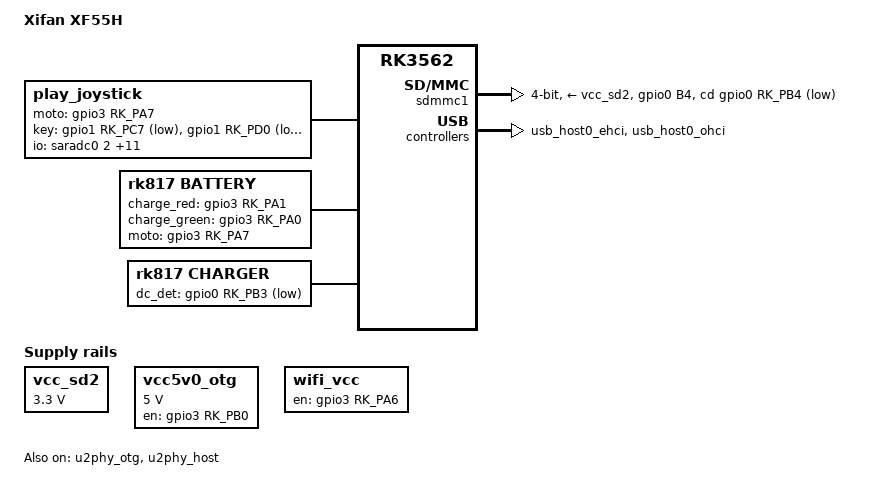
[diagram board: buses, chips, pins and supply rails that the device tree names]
// SPDX-License-Identifier: (GPL-2.0+ OR MIT)
/*
 * Xifan XF55H — RK3562 gaming handheld
 *
 * Hardware data was transcribed from the vendor
 * rk3562-ro520c-lp3x-v10-linux.dtb.
 */

/dts-v1/;

#include "rk3562.dtsi"
#include "rk3562-linux.dtsi"
#include "rk3562-rk817.dtsi"
#include "rk3562-darkos.dtsi"

/ {
	model = "Xifan XF55H";
	compatible = "xifan,xf55h", "rockchip,rk3562-ro520c-lp3x-v10",
		     "rockchip,rk3562";

	/* GPIO0_A6 and GPIO0_B4 belong to the second TF-card slot. */
	wireless-wlan {
		status = "disabled";
	};

	wireless-bluetooth {
		status = "disabled";
	};

	play_joystick {
		compatible = "play_joystick";
		io-channels = <&saradc0 2>, <&saradc0 3>,
			      <&saradc0 5>, <&saradc0 6>,
			      <&saradc1 1>, <&saradc1 4>,
			      <&saradc1 0>, <&saradc1 2>,
			      <&saradc1 3>, <&saradc1 5>,
			      <&saradc1 6>, <&saradc1 7>;
		io-channel-names = "button0", "button1",
				   "button2", "button3",
				   "l2-abs", "r2-abs",
				   "left-key", "right-key",
				   "down-key", "b-key",
				   "x-key", "y-key";
		joysticks_numbers = <2>;
		left-x-invert;
		right-y-invert;
		axis-min-value-mv = <250>;
		axis-max-value-mv = <1550>;
		axis-dead-zone-l = <790>;
		axis-dead-zone-h = <1010>;
		axis-division-value = <60>;
		keyup-threshold-microvolt = <1800000>;
		poll-interval = <16>;
		debounce-interval = <100>;
		pinctrl-names = "default";
		pinctrl-0 = <&xf55h_gpio_key_pin &xf55h_moto_gpio>;
		moto-gpio = <&gpio3 RK_PA7 GPIO_ACTIVE_HIGH>;
		gpio-key-num = <10>;
		key-gpios = <&gpio1 RK_PC7 GPIO_ACTIVE_LOW>,
			    <&gpio1 RK_PD0 GPIO_ACTIVE_LOW>,
			    <&gpio1 RK_PD5 GPIO_ACTIVE_LOW>,
			    <&gpio1 RK_PD6 GPIO_ACTIVE_LOW>,
			    <&gpio1 RK_PD3 GPIO_ACTIVE_LOW>,
			    <&gpio1 RK_PD7 GPIO_ACTIVE_LOW>,
			    <&gpio1 RK_PD4 GPIO_ACTIVE_LOW>,
			    <&gpio2 RK_PA0 GPIO_ACTIVE_LOW>,
			    <&gpio0 RK_PC5 GPIO_ACTIVE_LOW>,
			    <&gpio0 RK_PC6 GPIO_ACTIVE_LOW>;
		key-gpios-map = <0x136 0x220 0x137 0x131
				 0x13a 0x13b 0x66 0x1d0
				 0x13d 0x13e>;
		l2-r2-min-value-mv = <50>;
		l2-r2-max-value-mv = <800>;
		l2-r2-division-value-mv = <75>;
		l2_r2_abs;

		left-key {
			label = "left-key";
			adc-chan = <0>;
			linux,code = <0x222>;
			press-threshold-microvolt = <80000>;
		};

		right-key {
			label = "right-key";
			adc-chan = <2>;
			linux,code = <0x223>;
			press-threshold-microvolt = <80000>;
		};

		down-key {
			label = "down-key";
			adc-chan = <3>;
			linux,code = <0x221>;
			press-threshold-microvolt = <80000>;
		};

		b-key {
			label = "b-key";
			adc-chan = <5>;
			linux,code = <0x130>;
			press-threshold-microvolt = <80000>;
		};

		x-key {
			label = "x-key";
			adc-chan = <6>;
			linux,code = <0x133>;
			press-threshold-microvolt = <80000>;
		};

		y-key {
			label = "y-key";
			adc-chan = <7>;
			linux,code = <0x134>;
			press-threshold-microvolt = <80000>;
		};
	};

	vcc_sd2: vcc-sd2 {
		compatible = "regulator-gpio";
		regulator-name = "vcc_sd2";
		regulator-min-microvolt = <3300000>;
		regulator-max-microvolt = <3300000>;
		regulator-boot-on;
		enable-active-low;
		gpios = <&gpio0 RK_PA6 GPIO_ACTIVE_LOW>;
		states = <0 0x0
			  3300000 0x1>;
		pinctrl-names = "default";
		pinctrl-0 = <&vcc_sd_h2>;
	};

	vcc5v0_otg: vcc5v0-otg-regulator {
		compatible = "regulator-fixed";
		regulator-name = "vcc5v0_otg";
		regulator-min-microvolt = <5000000>;
		regulator-max-microvolt = <5000000>;
		enable-active-high;
		gpio = <&gpio3 RK_PB0 GPIO_ACTIVE_HIGH>;
		pinctrl-names = "default";
		pinctrl-0 = <&vcc5v0_otg_en>;
	};

	wifi_vcc: wifi-vcc {
		compatible = "regulator-fixed";
		regulator-name = "vcc-wifi";
		gpio = <&gpio3 RK_PA6 GPIO_ACTIVE_HIGH>;
		enable-active-high;
		regulator-boot-on;
		regulator-always-on;
		pinctrl-names = "default";
		pinctrl-0 = <&wifivcc_en_gpio>;
	};
};

/* The vendor panel controls its 3.3 V enable directly on GPIO0_B0. */
&dsi_panel {
	reset-delay-ms = <10>;
	init-delay-ms = <20>;
	enable-delay-ms = <100>;
	prepare-delay-ms = <20>;
	unprepare-delay-ms = <20>;
	disable-delay-ms = <20>;
	width-mm = <68>;
	height-mm = <121>;
	/* The portrait-native panel is mounted sideways in the handheld. */
	rotation = <90>;
	enable-gpios = <&gpio0 RK_PB0 GPIO_ACTIVE_HIGH>;
	pinctrl-names = "default";
	pinctrl-0 = <&lcd_rst_gpio>;

	panel-init-sequence = [
		39 00 04 b9 f1 12 87
		39 00 04 b2 40 03 78
		39 00 0b b3 10 10 28 28 03 ff 00 00 00 00
		15 00 02 b4 80
		15 00 03 b5 09 09
		15 00 03 b6 70 70
		39 00 05 b8 26 22 f0 13
		39 00 1c ba 33 81 05 f9 0e 0e 20 00 00 00 00 00 00 00
		            44 25 00 91 0a 00 00 01 4f 01 00 00 37
		15 00 02 bc 47
		39 00 06 bf 02 10 00 80 04
		39 00 0a c0 73 73 50 50 00 00 12 73 00
		39 00 12 c1 65 00 32 32 77 f1 77 77 cc cc ff ff 11 11 00 00 32
		39 00 0d c7 10 00 0a 00 00 00 00 00 ed c5 00 a5
		39 00 05 c8 10 40 1e 03
		15 00 02 cc 0b
		39 00 23 e0 00 05 07 1a 39 3f 33 2c 06 0b 0d 11 13 12 14 10 1a
		            00 05 07 1a 39 3f 33 2c 06 0b 0d 11 13 12 14 10 1a
		39 00 08 e1 11 11 91 00 00 00 00
		39 00 0f e3 07 07 0b 0b 0b 0b 00 00 00 00 ff 84 c0 10
		39 00 40 e9 c8 10 04 04 fe 80 81 12 31 45 4f 82 80 81 4b 0c
		            08 05 00 00 00 00 08 05 00 00 00 00 ab 02 46 02 48
		            68 88 88 88 80 88 ab 13 57 13 58 78 88 88 88 81 88
		            00 00 00 01 00 80 81 4b 00 00 00 00 00
		39 00 3e ea 96 1a 00 00 00 38 00 00 00 00 00 00 ab 75 31 31
		            18 78 88 88 88 85 88 ab 64 20 20 08 68 88 88 88 84
		            88 23 10 00 00 a0 00 00 00 00 00 00 00 c0 00 00 c0
		            00 00 00 00 40 80 81 00 00 00 00
		39 00 04 ef ff ff 01
		05 fa 01 11
		05 32 01 29
	];
	panel-exit-sequence = [
		05 78 01 28
		05 78 01 10
	];
};

&dsi_timing0 {
	clock-frequency = <61800000>;
	hactive = <720>;
	vactive = <1280>;
	hfront-porch = <132>;
	hsync-len = <40>;
	hback-porch = <60>;
	vfront-porch = <16>;
	vsync-len = <3>;
	vback-porch = <11>;
	hsync-active = <0>;
	vsync-active = <0>;
	de-active = <0>;
	pixelclk-active = <1>;
};

&rk817_codec {
	hp-volume = <50>;
	hp-mute-delay-ms = <200>;
};

&rk817 {
	pwrkey {
		autorepeat;
	};

	battery {
		compatible = "rk817,battery";
		ocv_table = <3400 3571 3659 3745 3795 3822 3839 3852
			     3862 3870 3880 3910 3957 4003 4019 4024
			     4026 4030 4040 4074 4174>;
		design_capacity = <3727>;
		design_qmax = <4100>;
		bat_res = <217>;
		sleep_enter_current = <300>;
		sleep_exit_current = <300>;
		sleep_filter_current = <100>;
		power_off_thresd = <3400>;
		zero_algorithm_vol = <3850>;
		max_soc_offset = <60>;
		monitor_sec = <5>;
		sample_res = <10>;
		virtual_power = <0>;
		pinctrl-names = "default";
		pinctrl-0 = <&charge_led_gpio>;
		charge_red_gpio = <&gpio3 RK_PA1 GPIO_ACTIVE_HIGH>;
		charge_green_gpio = <&gpio3 RK_PA0 GPIO_ACTIVE_HIGH>;
		moto_gpio = <&gpio3 RK_PA7 GPIO_ACTIVE_HIGH>;
	};

	charger {
		compatible = "rk817,charger";
		min_input_voltage = <4500>;
		max_input_current = <3000>;
		max_chrg_current = <2000>;
		max_chrg_voltage = <4350>;
		chrg_term_mode = <0>;
		chrg_finish_cur = <150>;
		virtual_power = <0>;
		dc_det_adc = <0>;
		otg5v_suspend_enable = <1>;
		extcon = <&u2phy>;
		gate_function_disable = <1>;
		dc_det_gpio = <&gpio0 RK_PB3 GPIO_ACTIVE_LOW>;
	};
};

&sdio_pwrseq {
	status = "disabled";
};

/* XF55H uses SDMMC1 as a second removable TF-card slot, not SDIO Wi-Fi. */
&sdmmc1 {
	/delete-property/ no-sd;
	/delete-property/ cap-sdio-irq;
	/delete-property/ keep-power-in-suspend;
	/delete-property/ mmc-pwrseq;
	/delete-property/ broken-cd;
	/delete-property/ supports-sdio;
	/delete-property/ supports-rk912;

	no-sdio;
	no-mmc;
	bus-width = <4>;
	cap-mmc-highspeed;
	cap-sd-highspeed;
	disable-wp;
	sd-uhs-sdr104;
	vmmc-supply = <&vcc_sd2>;
	vqmmc-supply = <&vcca1v8_pmu>;
	pinctrl-names = "default", "idle";
	pinctrl-0 = <&sdmmc1_bus4 &sdmmc1_cmd &sdmmc1_clk &sdmmc1_cd>;
	pinctrl-1 = <&sdmmc1_idle_pins &sdmmc1_cd>;
	cd-gpios = <&gpio0 RK_PB4 GPIO_ACTIVE_LOW>;
	status = "okay";
};

&u2phy_otg {
	vbus-supply = <&vcc5v0_otg>;
	status = "okay";
};

&u2phy_host {
	status = "okay";
};

&usb_host0_ehci {
	status = "okay";
};

&usb_host0_ohci {
	status = "okay";
};

&pinctrl {
	buttons-xf55h {
		xf55h_gpio_key_pin: xf55h-gpio-key-pin {
			rockchip,pins =
				<1 RK_PC7 RK_FUNC_GPIO &pcfg_pull_up>,
				<1 RK_PD0 RK_FUNC_GPIO &pcfg_pull_up>,
				<1 RK_PD5 RK_FUNC_GPIO &pcfg_pull_up>,
				<1 RK_PD6 RK_FUNC_GPIO &pcfg_pull_up>,
				<1 RK_PD3 RK_FUNC_GPIO &pcfg_pull_up>,
				<1 RK_PD7 RK_FUNC_GPIO &pcfg_pull_up>,
				<1 RK_PD4 RK_FUNC_GPIO &pcfg_pull_up>,
				<2 RK_PA0 RK_FUNC_GPIO &pcfg_pull_up>,
				<0 RK_PC5 RK_FUNC_GPIO &pcfg_pull_up>,
				<0 RK_PC6 RK_FUNC_GPIO &pcfg_pull_up>;
		};

		xf55h_moto_gpio: xf55h-moto-gpio {
			/* Active-high motor: pull low keeps it off until requested. */
			rockchip,pins = <3 RK_PA7 RK_FUNC_GPIO &pcfg_pull_down>;
		};
	};

	usb-xf55h {
		vcc5v0_otg_en: vcc5v0-otg-en {
			rockchip,pins = <3 RK_PB0 RK_FUNC_GPIO &pcfg_pull_none>;
		};
	};

	vcc-wifi {
		wifivcc_en_gpio: wifivcc-en-gpio {
			rockchip,pins = <3 RK_PA6 RK_FUNC_GPIO &pcfg_pull_up>;
		};
	};

	sdmmc1-xf55h {
		sdmmc1_cd: sdmmc1-cd {
			rockchip,pins = <0 RK_PB4 RK_FUNC_GPIO &pcfg_pull_up>;
		};

		sdmmc1_idle_pins: sdmmc1-idle-pins {
			rockchip,pins =
				<1 RK_PC1 RK_FUNC_GPIO &pcfg_pull_down>,
				<1 RK_PC2 RK_FUNC_GPIO &pcfg_pull_down>,
				<1 RK_PC3 RK_FUNC_GPIO &pcfg_pull_down>,
				<1 RK_PC4 RK_FUNC_GPIO &pcfg_pull_down>,
				<1 RK_PC5 RK_FUNC_GPIO &pcfg_pull_down>,
				<1 RK_PC6 RK_FUNC_GPIO &pcfg_pull_down>;
		};

		vcc_sd_h2: vcc-sd-h2 {
			rockchip,pins = <0 RK_PA6 RK_FUNC_GPIO &pcfg_pull_down>;
		};
	};
};
